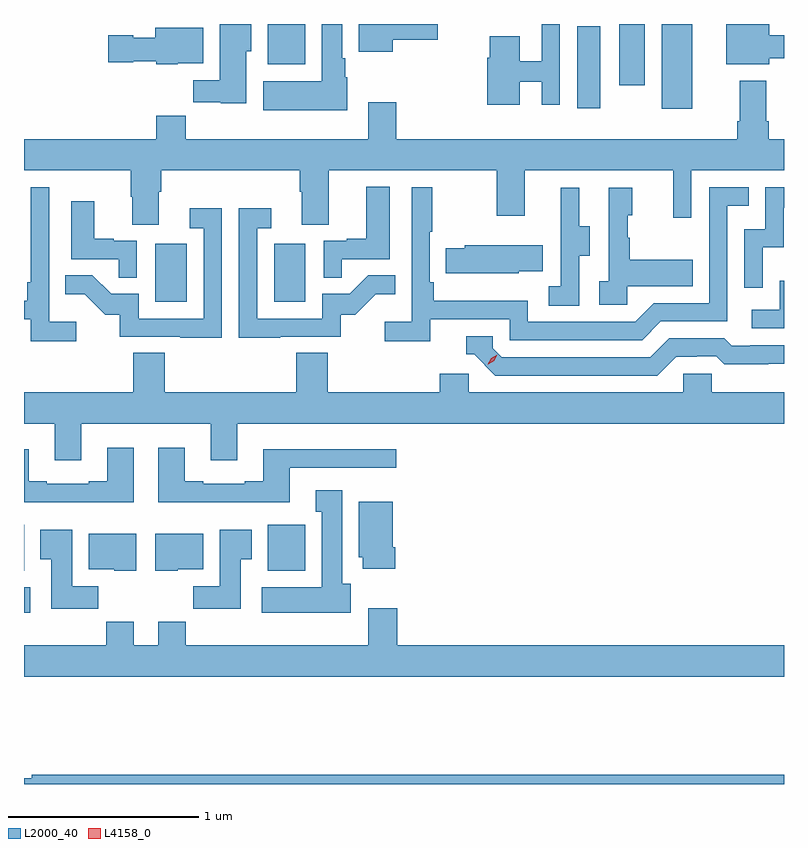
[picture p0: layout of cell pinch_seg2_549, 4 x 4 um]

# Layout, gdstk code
import gdstk
lib = gdstk.Library(unit=1e-6, precision=1e-09)
def R(c, l, rs):  # rectangles x0, y0, x1, y1
    for r in rs: c.add(gdstk.rectangle(r[:2], r[2:], *l))
def P(c, l, *ps):  # polygons
    for p in ps: c.add(gdstk.Polygon(p, *l))
L2000_40 = (2000, 40)
L4158_0 = (4158, 0)

pinch_seg2_549 = lib.new_cell('pinch_seg2_549')
R(pinch_seg2_549, L2000_40, [(1089.3,614.672,1089.334,614.806), (1089.3,614.894,1089.301,615.136), (1090.583,614.894,1090.78,615.136), (1089.992,616.308,1090.156,616.615), (1090.616,616.308,1090.78,616.615), (1092.656,617.325,1092.817,617.771), (1092.212,617.328,1092.334,617.758), (1092.434,617.448,1092.568,617.771), (1090.583,617.558,1090.78,617.771)])
P(pinch_seg2_549, L2000_40, [(1091.002,617.49),(1090.99,617.49),(1090.99,617.59),(1090.975,617.59),(1090.975,617.771),(1090.868,617.771),(1090.868,617.47),(1090.559,617.47),(1090.559,617.318),(1091.002,617.318)],
  [(1091.242,617.687),(1091.477,617.687),(1091.477,617.771),(1091.063,617.771),(1091.063,617.624),(1091.242,617.624)],
  [(1091.908,617.466),(1092.024,617.466),(1092.024,617.346),(1092.12,617.346),(1092.12,617.771),(1092.024,617.771),(1092.024,617.576),(1091.908,617.576),(1091.908,617.707),(1091.75,617.707),(1091.75,617.594),(1091.738,617.594),(1091.738,617.346),(1091.908,617.346)],
  [(1090.471,617.628),(1090.495,617.628),(1090.495,617.771),(1090.331,617.771),(1090.331,617.476),(1090.192,617.476),(1090.192,617.358),(1090.335,617.358),(1090.335,617.354),(1090.471,617.354)],
  [(1093.222,617.591),(1093.3,617.591),(1093.3,617.713),(1093.222,617.713),(1093.222,617.77),(1092.995,617.77),(1092.995,617.558),(1093.222,617.558)],
  [(1090.11,617.564),(1090.243,617.564),(1090.243,617.752),(1089.992,617.752),(1089.992,617.698),(1089.876,617.698),(1089.876,617.711),(1089.744,617.711),(1089.744,617.569),(1089.876,617.569),(1089.876,617.576),(1089.996,617.576),(1089.996,617.558),(1090.11,617.558)],
  [(1090.009,616.888),(1090.022,616.888),(1090.022,617),(1090.751,617),(1090.751,616.888),(1090.763,616.888),(1090.763,616.714),(1090.903,616.714),(1090.903,617),(1091.788,617),(1091.788,616.761),(1091.935,616.761),(1091.935,617),(1092.716,617),(1092.716,616.752),(1092.813,616.752),(1092.813,617),(1093.3,617),(1093.3,617.164),(1093.22,617.164),(1093.22,617.26),(1093.207,617.26),(1093.207,617.473),(1093.067,617.473),(1093.067,617.26),(1093.055,617.26),(1093.055,617.164),(1091.259,617.164),(1091.259,617.359),(1091.111,617.359),(1091.111,617.164),(1090.151,617.164),(1090.151,617.288),(1089.995,617.288),(1089.995,617.164),(1089.3,617.164),(1089.3,617),(1089.862,617),(1089.862,616.863),(1089.869,616.863),(1089.869,616.714),(1090.009,616.714)],
  [(1090.973,616.533),(1091.224,616.533),(1091.224,616.915),(1091.102,616.915),(1091.102,616.642),(1090.999,616.642),(1090.999,616.629),(1090.878,616.629),(1090.878,616.435),(1090.973,616.435)],
  [(1091.438,616.218),(1091.856,616.218),(1091.856,616.107),(1092.553,616.107),(1092.652,616.206),(1093.002,616.206),(1093.002,616.815),(1093.115,616.815),(1093.115,616.911),(1092.906,616.911),(1092.906,616.302),(1092.615,616.302),(1092.516,616.203),(1091.952,616.203),(1091.952,616.315),(1091.456,616.315),(1091.456,616.411),(1091.436,616.411),(1091.436,616.678),(1091.449,616.678),(1091.449,616.912),(1091.34,616.912),(1091.34,616.204),(1091.199,616.204),(1091.199,616.102),(1091.438,616.102)],
  [(1089.574,616.204),(1089.432,616.204),(1089.432,616.912),(1089.336,616.912),(1089.336,616.411),(1089.316,616.411),(1089.316,616.315),(1089.3,616.315),(1089.3,616.218),(1089.335,616.218),(1089.335,616.102),(1089.574,616.102)],
  [(1093.188,616.595),(1093.298,616.595),(1093.298,616.803),(1093.3,616.803),(1093.3,616.911),(1093.2,616.911),(1093.2,616.692),(1093.092,616.692),(1093.092,616.383),(1093.188,616.383)],
  [(1092.222,616.552),(1092.277,616.552),(1092.277,616.707),(1092.223,616.707),(1092.223,616.909),(1092.125,616.909),(1092.125,616.695),(1092.126,616.695),(1092.126,616.391),(1092.063,616.391),(1092.063,616.288),(1092.222,616.288)],
  [(1092.474,616.391),(1092.821,616.391),(1092.821,616.531),(1092.487,616.531),(1092.487,616.646),(1092.477,616.646),(1092.477,616.764),(1092.502,616.764),(1092.502,616.909),(1092.378,616.909),(1092.378,616.418),(1092.327,616.418),(1092.327,616.293),(1092.474,616.293)],
  [(1089.894,616.629),(1089.773,616.629),(1089.773,616.642),(1089.67,616.642),(1089.67,616.837),(1089.548,616.837),(1089.548,616.533),(1089.799,616.533),(1089.799,616.435),(1089.894,616.435)],
  [(1090.649,616.125),(1090.968,616.125),(1090.968,616.242),(1091.044,616.242),(1091.151,616.349),(1091.255,616.349),(1091.255,616.448),(1091.112,616.448),(1091.014,616.35),(1090.869,616.35),(1090.869,616.221),(1090.527,616.221),(1090.527,616.695),(1090.6,616.695),(1090.6,616.801),(1090.431,616.801),(1090.431,616.12),(1090.649,616.12)],
  [(1090.341,616.801),(1090.173,616.801),(1090.173,616.695),(1090.245,616.695),(1090.245,616.221),(1089.903,616.221),(1089.903,616.35),(1089.758,616.35),(1089.66,616.448),(1089.517,616.448),(1089.517,616.349),(1089.621,616.349),(1089.728,616.242),(1089.805,616.242),(1089.805,616.125),(1090.123,616.125),(1090.123,616.12),(1090.341,616.12)],
  [(1091.904,616.469),(1092.029,616.469),(1092.029,616.606),(1091.619,616.606),(1091.619,616.59),(1091.521,616.59),(1091.521,616.46),(1091.904,616.46)],
  [(1093.3,616.42),(1093.278,616.42),(1093.278,616.266),(1093.131,616.266),(1093.131,616.17),(1093.3,616.17)],
  [(1092.733,616.02),(1092.84,616.02),(1092.84,616.023),(1092.943,616.023),(1092.985,615.981),(1093.218,615.981),(1093.218,615.983),(1093.3,615.983),(1093.3,616.08),(1093.123,616.08),(1093.123,616.077),(1093.024,616.077),(1092.985,616.116),(1092.696,616.116),(1092.597,616.017),(1091.814,616.017),(1091.766,616.065),(1091.766,616.128),(1091.627,616.128),(1091.627,616.032),(1091.67,616.032),(1091.781,615.921),(1092.634,615.921)],
  [(1089.601,615.668),(1090.283,615.668),(1090.283,615.474),(1090.423,615.474),(1090.423,615.668),(1093.3,615.668),(1093.3,615.832),(1092.921,615.832),(1092.921,615.93),(1092.771,615.93),(1092.771,615.832),(1091.64,615.832),(1091.64,615.93),(1091.489,615.93),(1091.489,615.832),(1090.898,615.832),(1090.898,616.04),(1090.733,616.04),(1090.733,615.832),(1090.04,615.832),(1090.04,616.04),(1089.875,616.04),(1089.875,615.832),(1089.3,615.832),(1089.3,615.668),(1089.461,615.668),(1089.461,615.474),(1089.601,615.474)],
  [(1089.877,615.541),(1089.737,615.541),(1089.737,615.364),(1089.641,615.364),(1089.641,615.351),(1089.421,615.351),(1089.421,615.364),(1089.325,615.364),(1089.325,615.532),(1089.3,615.532),(1089.3,615.254),(1089.877,615.254)],
  [(1090.699,615.435),(1091.26,615.435),(1091.26,615.532),(1090.559,615.532),(1090.559,615.364),(1090.463,615.364),(1090.463,615.351),(1090.243,615.351),(1090.243,615.364),(1090.147,615.364),(1090.147,615.541),(1090.007,615.541),(1090.007,615.254),(1090.699,615.254)],
  [(1091.02,614.826),(1090.975,614.826),(1090.975,615.316),(1090.835,615.316),(1090.835,615.203),(1090.868,615.203),(1090.868,614.806),(1090.551,614.806),(1090.551,614.672),(1091.02,614.672)],
  [(1091.255,615.016),(1091.242,615.016),(1091.242,615.256),(1091.063,615.256),(1091.063,614.964),(1091.084,614.964),(1091.084,614.904),(1091.255,614.904)],
  [(1089.692,614.812),(1089.553,614.812),(1089.553,615.109),(1089.386,615.109),(1089.386,614.953),(1089.443,614.953),(1089.443,614.694),(1089.692,614.694)],
  [(1090.441,614.953),(1090.498,614.953),(1090.498,615.109),(1090.331,615.109),(1090.331,614.812),(1090.192,614.812),(1090.192,614.694),(1090.441,614.694)],
  [(1090.11,614.9),(1090.243,614.9),(1090.243,615.088),(1089.992,615.088),(1089.992,614.894),(1090.11,614.894)],
  [(1089.892,615.088),(1089.641,615.088),(1089.641,614.9),(1089.774,614.9),(1089.774,614.894),(1089.892,614.894)],
  [(1093.3,614.5),(1091.264,614.5),(1091.264,614.695),(1091.111,614.695),(1091.111,614.5),(1090.151,614.5),(1090.151,614.624),(1090.007,614.624),(1090.007,614.5),(1089.877,614.5),(1089.877,614.624),(1089.733,614.624),(1089.733,614.5),(1089.3,614.5),(1089.3,614.336),(1093.3,614.336)],
  [(1093.3,613.82),(1089.34,613.82),(1089.34,613.8),(1089.3,613.8),(1089.3,613.771),(1093.3,613.771)])
P(pinch_seg2_549, L4158_0, [(1091.742,615.98),(1091.742,615.98),(1091.759,616.012),(1091.79,616.031),(1091.79,616.031),(1091.79,616.031),(1091.774,615.998),(1091.743,615.98)])

lib.write_gds('pinch_seg2_549.gds')
